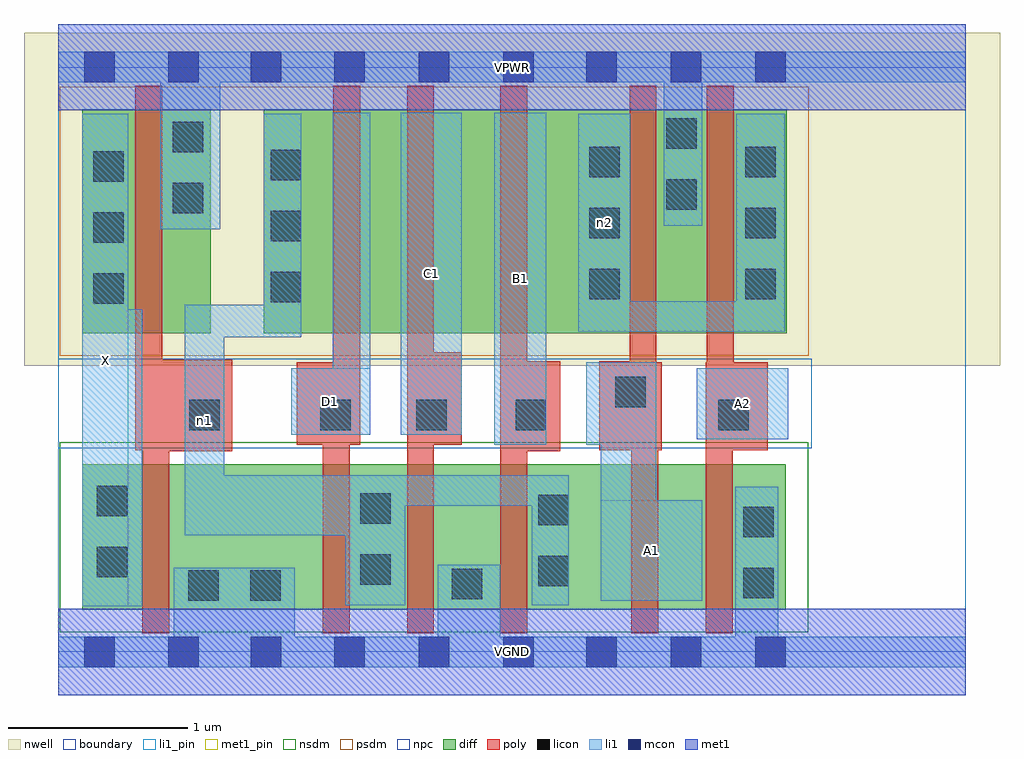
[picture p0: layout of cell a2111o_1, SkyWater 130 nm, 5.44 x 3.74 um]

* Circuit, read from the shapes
.subckt a2111o_1 A1 A2 B1 C1 D1 VGND VPWR X n1 n2
XM1 VGND n1 X VSUBS sky130_fd_pr__nfet_01v8 w=0.81 l=0.15
XM2 n1 D1 VGND VSUBS sky130_fd_pr__nfet_01v8 w=0.81 l=0.15
XM3 VGND C1 n1 VSUBS sky130_fd_pr__nfet_01v8 w=0.81 l=0.15
XM4 n1 B1 VGND VSUBS sky130_fd_pr__nfet_01v8 w=0.81 l=0.15
XM5 n3 A1 n1 VSUBS sky130_fd_pr__nfet_01v8 w=0.81 l=0.15
XM6 VGND A2 n3 VSUBS sky130_fd_pr__nfet_01v8 w=0.81 l=0.15
XM7 VPWR n1 X n4 sky130_fd_pr__pfet_01v8 w=1.25 l=0.15
XM8 n5 D1 n1 n4 sky130_fd_pr__pfet_01v8 w=1.25 l=0.15
XM9 n6 C1 n5 n4 sky130_fd_pr__pfet_01v8 w=1.25 l=0.15
XM10 n2 B1 n6 n4 sky130_fd_pr__pfet_01v8 w=1.25 l=0.15
XM11 VPWR A1 n2 n4 sky130_fd_pr__pfet_01v8 w=1.25 l=0.15
XM12 n2 A2 VPWR n4 sky130_fd_pr__pfet_01v8 w=1.25 l=0.15
.ends

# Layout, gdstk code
import gdstk
lib = gdstk.Library(unit=1e-6, precision=1e-09)
def R(c, l, rs):  # rectangles x0, y0, x1, y1
    for r in rs: c.add(gdstk.rectangle(r[:2], r[2:], *l))
def A(c, l, x, y, w, h, nx, ny, dx, dy):  # array of equal rectangles
    R(c, l, [(x+i*dx, y+j*dy, x+i*dx+w, y+j*dy+h) for i in range(nx) for j in range(ny)])
nwell = (64, 20)
diff = (65, 20)
poly = (66, 20)
licon = (66, 44)
li1_pin = (67, 16)
li1 = (67, 20)
mcon = (67, 44)
met1_pin = (68, 16)
met1 = (68, 20)
nsdm = (93, 44)
psdm = (94, 20)
npc = (95, 20)
boundary = (235, 4)

a2111o_1 = lib.new_cell('a2111o_1')
R(a2111o_1, nwell, [(-0.19,1.595,5.25,3.45), (0,1.595,5.06,3.45)])
R(a2111o_1, diff, [(0.135,0.235,4.055,1.045), (0.135,1.775,0.85,3.025), (1.145,1.775,4.06,3.025)])
R(a2111o_1, poly, [(0.47,0.105,0.62,1.63), (1.475,0.105,1.625,1.615), (1.945,0.105,2.095,3.155), (2.465,0.105,2.615,3.155), (3.195,0.105,3.345,1.615), (3.61,0.105,3.76,1.615), (0.47,1.12,0.97,1.63), (2.465,1.12,2.8,1.62), (0.43,1.125,0.58,3.155), (3.015,1.125,3.365,1.615), (3.015,1.125,3.335,1.62), (3.185,1.125,3.335,3.155), (3.61,1.125,3.955,1.615), (3.615,1.125,3.765,3.155), (1.33,1.155,1.685,1.615), (1.535,1.155,1.685,3.155), (1.945,1.155,2.25,1.67)])
A(a2111o_1, licon, 0.195, 1.94, 0.17, 0.17, 1, 3, 0, 0.34)
A(a2111o_1, licon, 1.185, 1.95, 0.17, 0.17, 1, 3, 0, 0.34)
A(a2111o_1, licon, 2.96, 1.965, 0.17, 0.17, 1, 3, 0, 0.34)
A(a2111o_1, licon, 3.83, 1.965, 0.17, 0.17, 1, 3, 0, 0.34)
R(a2111o_1, licon, [(0.725,0.285,0.895,0.455), (1.07,0.285,1.24,0.455), (2.195,0.295,2.365,0.465), (3.82,0.3,3.99,0.47), (2.675,0.365,2.845,0.535), (1.685,0.375,1.855,0.545), (0.215,0.415,0.385,0.585), (3.82,0.64,3.99,0.81), (2.675,0.705,2.845,0.875), (1.685,0.715,1.855,0.885), (0.215,0.755,0.385,0.925), (0.73,1.235,0.9,1.405), (1.46,1.235,1.63,1.405), (1.995,1.235,2.165,1.405), (2.55,1.235,2.72,1.405), (3.68,1.235,3.85,1.405), (3.105,1.365,3.275,1.535), (0.64,2.445,0.81,2.615), (3.39,2.465,3.56,2.635), (0.64,2.785,0.81,2.955), (3.39,2.805,3.56,2.975)])
R(a2111o_1, li1_pin, [(0.135,0.255,0.39,3), (3.025,0.285,3.59,0.845), (2.43,1.155,2.72,3.005), (3.56,1.185,4.07,1.58), (1.3,1.21,1.74,1.58), (1.91,1.21,2.25,3.005)])
R(a2111o_1, li1, [(0,-0.085,5.06,0.085), (0.645,-0.085,1.32,0.47), (2.115,-0.085,2.465,0.485), (3.775,-0.085,4.015,0.92), (0.135,0.255,0.39,3), (0.135,0.255,0.47,1.91), (1.6,0.26,1.935,0.985), (2.64,0.26,2.845,0.985), (3.025,0.285,3.335,1.615), (3.025,0.285,3.59,0.845), (0.705,0.65,0.925,1.935), (0.705,0.65,1.935,0.985), (0.705,0.815,2.845,0.985), (2.43,1.155,2.72,3.005), (2.945,1.155,3.335,1.615), (3.56,1.185,4.07,1.58), (1.3,1.21,1.74,1.58), (1.53,1.21,1.74,3.005), (1.91,1.21,2.25,3.005), (0.705,1.755,1.355,1.935), (1.145,1.755,1.355,3), (2.9,1.785,3.19,3), (2.9,1.785,4.05,1.955), (3.78,1.785,4.05,3), (0.57,2.355,0.905,3.345), (3.375,2.375,3.59,3.345), (0,3.175,5.06,3.345)])
A(a2111o_1, mcon, 1.54, -0.085, 0.17, 0.17, 3, 2, 0.47, 3.26)
A(a2111o_1, mcon, 2.945, -0.085, 0.17, 0.17, 3, 2, 0.47, 3.26)
R(a2111o_1, mcon, [(0.145,-0.085,0.315,0.085), (0.615,-0.085,0.785,0.085), (1.075,-0.085,1.245,0.085), (0.145,3.175,0.315,3.345), (0.615,3.175,0.785,3.345), (1.075,3.175,1.245,3.345)])
R(a2111o_1, met1_pin, [(0,-0.24,5.06,0.24), (0,3.02,5.06,3.5)])
R(a2111o_1, met1, [(0,-0.24,5.06,0.24), (0,3.02,5.06,3.5)])
R(a2111o_1, nsdm, [(0.01,0.11,4.18,1.17)])
R(a2111o_1, psdm, [(0.01,1.65,4.185,3.15)])
R(a2111o_1, npc, [(0,1.135,4.2,1.635)])
R(a2111o_1, boundary, [(0,0,5.06,3.26)])
a2111o_1.add(gdstk.Label('A1', (3.307,0.565), layer=67, texttype=5))
a2111o_1.add(gdstk.Label('A2', (3.815,1.382), layer=67, texttype=5))
a2111o_1.add(gdstk.Label('B1', (2.575,2.08), layer=67, texttype=5))
a2111o_1.add(gdstk.Label('C1', (2.08,2.107), layer=67, texttype=5))
a2111o_1.add(gdstk.Label('D1', (1.52,1.395), layer=67, texttype=5))
a2111o_1.add(gdstk.Label('X', (0.262,1.627), layer=67, texttype=5))
a2111o_1.add(gdstk.Label('n1', (0.815,1.292), layer=67, texttype=5))
a2111o_1.add(gdstk.Label('n2', (3.045,2.392), layer=67, texttype=5))
a2111o_1.add(gdstk.Label('VPWR', (2.53,3.26), layer=68, texttype=5))
a2111o_1.add(gdstk.Label('VGND', (2.53,0), layer=68, texttype=5))
a2111o_1.add(gdstk.Label('A1', (3.307,0.565), layer=67, texttype=16))
a2111o_1.add(gdstk.Label('A2', (3.815,1.382), layer=67, texttype=16))
a2111o_1.add(gdstk.Label('B1', (2.575,2.08), layer=67, texttype=16))
a2111o_1.add(gdstk.Label('C1', (2.08,2.107), layer=67, texttype=16))
a2111o_1.add(gdstk.Label('D1', (1.52,1.395), layer=67, texttype=16))
a2111o_1.add(gdstk.Label('X', (0.262,1.627), layer=67, texttype=16))
a2111o_1.add(gdstk.Label('VPWR', (2.53,3.26), layer=68, texttype=16))
a2111o_1.add(gdstk.Label('VGND', (2.53,0), layer=68, texttype=16))

lib.write_gds('a2111o_1.gds')
